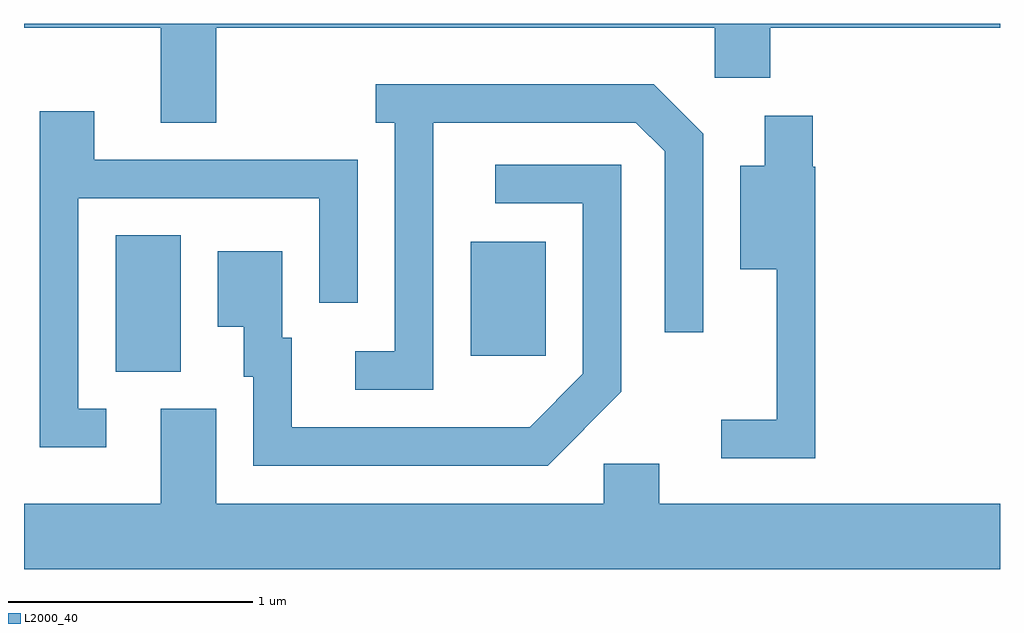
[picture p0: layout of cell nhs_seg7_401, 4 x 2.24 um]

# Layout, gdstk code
import gdstk
lib = gdstk.Library(unit=1e-6, precision=1e-09)
def R(c, l, rs):  # rectangles x0, y0, x1, y1
    for r in rs: c.add(gdstk.rectangle(r[:2], r[2:], *l))
def P(c, l, *ps):  # polygons
    for p in ps: c.add(gdstk.Polygon(p, *l))
L2000_40 = (2000, 40)

nhs_seg7_401 = lib.new_cell('nhs_seg7_401')
R(nhs_seg7_401, L2000_40, [(195.986,1792.826,196.254,1793.384), (197.441,1792.891,197.749,1793.359)])
P(nhs_seg7_401, L2000_40, [(196.399,1794.236),(198.441,1794.236),(198.441,1794.031),(198.669,1794.031),(198.669,1794.236),(199.611,1794.236),(199.611,1794.252),(195.611,1794.252),(195.611,1794.236),(196.171,1794.236),(196.171,1793.846),(196.399,1793.846)],
  [(197.289,1793.846),(198.119,1793.846),(198.236,1793.729),(198.236,1792.988),(198.394,1792.988),(198.394,1793.802),(198.192,1794.004),(197.053,1794.004),(197.053,1793.846),(197.131,1793.846),(197.131,1792.909),(196.968,1792.909),(196.968,1792.751),(197.289,1792.751)],
  [(195.948,1792.674),(195.834,1792.674),(195.834,1793.536),(196.821,1793.536),(196.821,1793.108),(196.979,1793.108),(196.979,1793.694),(195.899,1793.694),(195.899,1793.894),(195.676,1793.894),(195.676,1792.516),(195.948,1792.516)],
  [(198.854,1793.665),(198.844,1793.665),(198.844,1793.874),(198.646,1793.874),(198.646,1793.669),(198.546,1793.669),(198.546,1793.246),(198.696,1793.246),(198.696,1792.629),(198.468,1792.629),(198.468,1792.471),(198.854,1792.471)],
  [(198.059,1792.744),(198.059,1793.674),(197.543,1793.674),(197.543,1793.516),(197.901,1793.516),(197.901,1792.817),(197.684,1792.599),(196.709,1792.599),(196.709,1792.964),(196.669,1792.964),(196.669,1793.319),(196.406,1793.319),(196.406,1793.011),(196.511,1793.011),(196.511,1792.806),(196.551,1792.806),(196.551,1792.441),(197.757,1792.441)],
  [(199.611,1792.284),(198.214,1792.284),(198.214,1792.449),(197.986,1792.449),(197.986,1792.284),(196.399,1792.284),(196.399,1792.674),(196.171,1792.674),(196.171,1792.284),(195.611,1792.284),(195.611,1792.016),(199.611,1792.016)])

lib.write_gds('nhs_seg7_401.gds')
